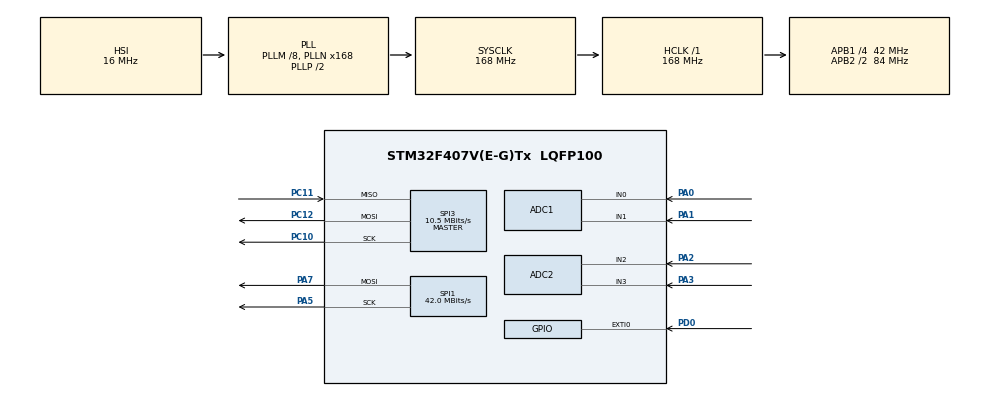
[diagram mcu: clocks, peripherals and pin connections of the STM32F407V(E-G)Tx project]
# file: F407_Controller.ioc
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ADC1.Channel-1\#ChannelRegularConversion=ADC_CHANNEL_0
ADC1.Channel-2\#ChannelRegularConversion=ADC_CHANNEL_1
ADC1.DMAContinuousRequests=ENABLE
ADC1.EOCSelection=ADC_EOC_SEQ_CONV
ADC1.ExternalTrigConv=ADC_EXTERNALTRIGCONV_T3_TRGO
ADC1.Mode=ADC_DUALMODE_INTERL
ADC1.NbrOfConversion=2
ADC1.NbrOfConversionFlag=1
ADC1.Rank-1\#ChannelRegularConversion=1
ADC1.Rank-2\#ChannelRegularConversion=2
ADC1.SamplingTime-1\#ChannelRegularConversion=ADC_SAMPLETIME_15CYCLES
ADC1.SamplingTime-2\#ChannelRegularConversion=ADC_SAMPLETIME_15CYCLES
ADC1.master=1
ADC2.Channel-1\#ChannelRegularConversion=ADC_CHANNEL_2
ADC2.Channel-2\#ChannelRegularConversion=ADC_CHANNEL_3
ADC2.DMAAccessMode=ADC_DMAACCESSMODE_2
ADC2.EOCSelection=ADC_EOC_SEQ_CONV
ADC2.Mode=ADC_DUALMODE_INTERL
ADC2.NbrOfConversion=2
ADC2.NbrOfConversionFlag=1
ADC2.Rank-1\#ChannelRegularConversion=1
ADC2.Rank-2\#ChannelRegularConversion=2
ADC2.SamplingTime-1\#ChannelRegularConversion=ADC_SAMPLETIME_15CYCLES
ADC2.SamplingTime-2\#ChannelRegularConversion=ADC_SAMPLETIME_15CYCLES
Dma.ADC1.0.Direction=DMA_PERIPH_TO_MEMORY
Dma.ADC1.0.FIFOMode=DMA_FIFOMODE_DISABLE
Dma.ADC1.0.Instance=DMA2_Stream0
Dma.ADC1.0.MemDataAlignment=DMA_MDATAALIGN_WORD
Dma.ADC1.0.MemInc=DMA_MINC_ENABLE
Dma.ADC1.0.Mode=DMA_CIRCULAR
Dma.ADC1.0.PeriphDataAlignment=DMA_PDATAALIGN_WORD
Dma.ADC1.0.PeriphInc=DMA_PINC_DISABLE
Dma.ADC1.0.Priority=DMA_PRIORITY_MEDIUM
Dma.Request0=ADC1
FREERTOS.Tasks01=main,24,128,App_main,Default,NULL,Static,mainBuffer,mainControlBlock
Mcu.Family=STM32F4
Mcu.Name=STM32F407V(E-G)Tx
Mcu.Package=LQFP100
NVIC.DMA2_Stream0_IRQn=true\:6\:0\:true\:false\:true\:true\:false\:true\:true
NVIC.EXTI0_IRQn=true\:5\:0\:true\:false\:true\:true\:true\:true\:true
NVIC.PriorityGroup=NVIC_PRIORITYGROUP_4
NVIC.TIM8_TRG_COM_TIM14_IRQn=true\:15\:0\:false\:false\:true\:false\:false\:true\:true
NVIC.TimeBase=TIM8_TRG_COM_TIM14_IRQn
NVIC.TimeBaseIP=TIM14
PA0-WKUP.Signal=ADCx_IN0
PA1.Signal=ADCx_IN1
PA13.Mode=Serial_Wire
PA13.Signal=SYS_JTMS-SWDIO
PA14.Mode=Serial_Wire
PA14.Signal=SYS_JTCK-SWCLK
PA2.Signal=ADCx_IN2
PA3.Signal=ADCx_IN3
PA5.Mode=TX_Only_Simplex_Unidirect_Master
PA5.Signal=SPI1_SCK
PA7.Mode=TX_Only_Simplex_Unidirect_Master
PA7.Signal=SPI1_MOSI
PC10.Mode=Full_Duplex_Master
PC10.Signal=SPI3_SCK
PC11.Mode=Full_Duplex_Master
PC11.Signal=SPI3_MISO
PC12.Mode=Full_Duplex_Master
PC12.Signal=SPI3_MOSI
PD0.GPIO_ModeDefaultEXTI=GPIO_MODE_IT_FALLING
PD0.Signal=GPXTI0
PH0-OSC_IN.Mode=HSE-External-Oscillator
PH0-OSC_IN.Signal=RCC_OSC_IN
PH1-OSC_OUT.Mode=HSE-External-Oscillator
PH1-OSC_OUT.Signal=RCC_OSC_OUT
ProjectManager.HeapSize=0x200
ProjectManager.StackSize=0x400
ProjectManager.TargetToolchain=STM32CubeIDE
RCC.48MHZClocksFreq_Value=84000000
RCC.AHBFreq_Value=168000000
RCC.APB1CLKDivider=RCC_HCLK_DIV4
RCC.APB1Freq_Value=42000000
RCC.APB1TimFreq_Value=84000000
RCC.APB2CLKDivider=RCC_HCLK_DIV2
RCC.APB2Freq_Value=84000000
RCC.APB2TimFreq_Value=168000000
RCC.CortexFreq_Value=168000000
RCC.HCLKFreq_Value=168000000
RCC.HSE_VALUE=12000000
RCC.HSI_VALUE=16000000
RCC.LSE_VALUE=32768
RCC.PLLM=8
RCC.PLLN=168
RCC.SYSCLKFreq_VALUE=168000000
RCC.SYSCLKSource=RCC_SYSCLKSOURCE_PLLCLK
RCC.VCOOutputFreq_Value=336000000
SH.ADCx_IN0.0=ADC1_IN0,IN0
SH.ADCx_IN1.0=ADC1_IN1,IN1
SH.ADCx_IN2.0=ADC2_IN2,IN2
SH.ADCx_IN3.0=ADC2_IN3,IN3
SPI1.CalculateBaudRate=42.0 MBits/s
SPI1.Direction=SPI_DIRECTION_2LINES
SPI1.Mode=SPI_MODE_MASTER
SPI1.VirtualType=VM_MASTER
SPI3.BaudRatePrescaler=SPI_BAUDRATEPRESCALER_4
SPI3.CalculateBaudRate=10.5 MBits/s
SPI3.Direction=SPI_DIRECTION_2LINES
SPI3.Mode=SPI_MODE_MASTER
SPI3.VirtualType=VM_MASTER
TIM3.Period=40-1
TIM3.Prescaler=84-1
TIM3.TIM_MasterOutputTrigger=TIM_TRGO_UPDATE
VP_FREERTOS_VS_CMSIS_V2.Mode=CMSIS_V2
VP_SYS_VS_tim14.Mode=TIM14
VP_TIM3_VS_ClockSourceINT.Mode=Internal
board=custom

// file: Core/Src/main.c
/* USER CODE BEGIN Header */
/**
  ******************************************************************************
  * @file           : main.c
  * @brief          : Main program body
  ******************************************************************************
  * @attention
  *
  * Copyright (c) 2024 STMicroelectronics.
  * All rights reserved.
  *
  * This software is licensed under terms that can be found in the LICENSE file
  * in the root directory of this software component.
  * If no LICENSE file comes with this software, it is provided AS-IS.
  *
  ******************************************************************************
  */
/* USER CODE END Header */
#include "main.h"
#include "cmsis_os.h"
#include "adc.h"
#include "dma.h"
#include "spi.h"
#include "tim.h"
#include "gpio.h"

/* USER CODE BEGIN Includes */
#include "lcd.h"
#include "nrf.h"
#include "bsp.h"
/* USER CODE END Includes */

void SystemClock_Config(void);
void MX_FREERTOS_Init(void);

/* USER CODE BEGIN 0 */
uint32_t dmaBuffer[2];
/* USER CODE END 0 */

int main(void)
{

  /* MCU Configuration--------------------------------------------------------*/

  /* Reset of all peripherals, Initializes the Flash interface and the Systick. */
  HAL_Init();

  /* Configure the system clock */
  SystemClock_Config();

  /* Initialize all configured peripherals */
  MX_GPIO_Init();
  MX_DMA_Init();
  MX_SPI1_Init();
  MX_SPI3_Init();
  MX_ADC1_Init();
  MX_ADC2_Init();
  MX_TIM3_Init();
  /* USER CODE BEGIN 2 */
    LCD_Init(WHITE);
    NRF_GPIO_Init();
    BSP_FineTuningKey_GPIO_Init();
    //启动ADC
    HAL_ADCEx_MultiModeStart_DMA(&hadc1,dmaBuffer,2);
    HAL_ADCEx_MultiModeStart_DMA(&hadc2,dmaBuffer,2);

    //启动定时器3
    HAL_TIM_Base_Start(&htim3);
  /* USER CODE END 2 */

  /* Init scheduler */
  osKernelInitialize();

  /* Call init function for freertos objects (in freertos.c) */
  MX_FREERTOS_Init();

  /* Start scheduler */
  osKernelStart();

  /* We should never get here as control is now taken by the scheduler */
  /* Infinite loop */
    while (1) {

    }
}

void SystemClock_Config(void)
{
  RCC_OscInitTypeDef RCC_OscInitStruct = {0};
  RCC_ClkInitTypeDef RCC_ClkInitStruct = {0};

  /** Configure the main internal regulator output voltage
  */
  __HAL_RCC_PWR_CLK_ENABLE();
  __HAL_PWR_VOLTAGESCALING_CONFIG(PWR_REGULATOR_VOLTAGE_SCALE1);

  /** Initializes the RCC Oscillators according to the specified parameters
  * in the RCC_OscInitTypeDef structure.
  */
  RCC_OscInitStruct.OscillatorType = RCC_OSCILLATORTYPE_HSI;
  RCC_OscInitStruct.HSIState = RCC_HSI_ON;
  RCC_OscInitStruct.HSICalibrationValue = RCC_HSICALIBRATION_DEFAULT;
  RCC_OscInitStruct.PLL.PLLState = RCC_PLL_ON;
  RCC_OscInitStruct.PLL.PLLSource = RCC_PLLSOURCE_HSI;
  RCC_OscInitStruct.PLL.PLLM = 8;
  RCC_OscInitStruct.PLL.PLLN = 168;
  RCC_OscInitStruct.PLL.PLLP = RCC_PLLP_DIV2;
  RCC_OscInitStruct.PLL.PLLQ = 4;
  if (HAL_RCC_OscConfig(&RCC_OscInitStruct) != HAL_OK)
  {
    Error_Handler();
  }

  /** Initializes the CPU, AHB and APB buses clocks
  */
  RCC_ClkInitStruct.ClockType = RCC_CLOCKTYPE_HCLK|RCC_CLOCKTYPE_SYSCLK
                              |RCC_CLOCKTYPE_PCLK1|RCC_CLOCKTYPE_PCLK2;
  RCC_ClkInitStruct.SYSCLKSource = RCC_SYSCLKSOURCE_PLLCLK;
  RCC_ClkInitStruct.AHBCLKDivider = RCC_SYSCLK_DIV1;
  RCC_ClkInitStruct.APB1CLKDivider = RCC_HCLK_DIV4;
  RCC_ClkInitStruct.APB2CLKDivider = RCC_HCLK_DIV2;

  if (HAL_RCC_ClockConfig(&RCC_ClkInitStruct, FLASH_LATENCY_5) != HAL_OK)
  {
    Error_Handler();
  }
}

void HAL_TIM_PeriodElapsedCallback(TIM_HandleTypeDef *htim)
{
  if (htim->Instance == TIM14) {
    HAL_IncTick();
  }
}

void Error_Handler(void)
{
    __disable_irq();
    while (1) {
    }
}

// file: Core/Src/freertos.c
/* USER CODE BEGIN Header */
/**
  ******************************************************************************
  * File Name          : freertos.c
  * Description        : Code for freertos applications
  ******************************************************************************
  * @attention
  *
  * Copyright (c) 2024 STMicroelectronics.
  * All rights reserved.
  *
  * This software is licensed under terms that can be found in the LICENSE file
  * in the root directory of this software component.
  * If no LICENSE file comes with this software, it is provided AS-IS.
  *
  ******************************************************************************
  */
/* USER CODE END Header */

#include "FreeRTOS.h"
#include "task.h"
#include "main.h"
#include "cmsis_os.h"

/* USER CODE BEGIN Includes */
#include "lcd.h"
#include "bsp.h"
#include "semphr.h"
#include "nrf.h"
#include "flash.h"
#include "pic.h"
#include "stdio.h"
#include "math.h"
/* USER CODE END Includes */

typedef StaticTask_t osStaticThreadDef_t;
/* USER CODE BEGIN PTD */
osSemaphoreId_t BinSem_DataReadyHandle;
const osSemaphoreAttr_t BinSem_DataReady_attributes = {
        .name = "BinSem_DataReady",
};

osSemaphoreId_t NRFSem_TxHandle;
const osSemaphoreAttr_t NRFSem_Tx_attributes = {
        .name = "NRFSem_Tx"
};
/* USER CODE END PTD */

/* USER CODE BEGIN PD */

extern uint32_t dmaBuffer[2];
CCMRAM uint16_t adc[4] = {0, 0, 0, 0};
CCMRAM int offset[4] = {0,0,0,0};
CCMRAM uint8_t txBuffer[NRF_AirDataBytes];
/* USER CODE END PD */

/* USER CODE BEGIN PM */
/* Creat for LCD*/
osThreadId_t lcdHandle;
CCMRAM uint32_t lcdBuffer[128];
osStaticThreadDef_t lcdControlBlock;
const osThreadAttr_t lcd_attributes = {
        .name = "lcd",
        .cb_mem = &lcdControlBlock,
        .cb_size = sizeof(lcdControlBlock),
        .stack_mem = lcdBuffer,
        .stack_size = sizeof(lcdBuffer),
        .priority = (osPriority_t) osPriorityLow,
};

/* Creat for adc */
osThreadId_t adcHandle;
CCMRAM uint32_t adcBuffer[128];
osStaticThreadDef_t adcControlBlock;
const osThreadAttr_t adc_attributes = {
        .name = "adc",
        .cb_mem = &adcControlBlock,
        .cb_size = sizeof(adcControlBlock),
        .stack_mem = adcBuffer,
        .stack_size = sizeof(adcBuffer),
        .priority = (osPriority_t) osPriorityHigh,
};

/* USER CODE END PM */

/* Definitions for main */
osThreadId_t mainHandle;
CCMRAM uint32_t mainBuffer[ 128 ];
osStaticThreadDef_t mainControlBlock;
const osThreadAttr_t main_attributes = {
  .name = "main",
  .cb_mem = &mainControlBlock,
  .cb_size = sizeof(mainControlBlock),
  .stack_mem = &mainBuffer[0],
  .stack_size = sizeof(mainBuffer),
  .priority = (osPriority_t) osPriorityNormal,
};

/* USER CODE BEGIN FunctionPrototypes */
void App_lcd(void *argument);

void App_adc(void *param);

/* USER CODE END FunctionPrototypes */

void App_main(void *argument);

void MX_FREERTOS_Init(void); /* (MISRA C 2004 rule 8.1) */

void MX_FREERTOS_Init(void) {

  /* USER CODE BEGIN RTOS_SEMAPHORES */
    /* add semaphores, ... */
    BinSem_DataReadyHandle = osSemaphoreNew(1, 1, &BinSem_DataReady_attributes);

    NRFSem_TxHandle = osSemaphoreNew(1,1,&NRFSem_Tx_attributes);
  /* USER CODE END RTOS_SEMAPHORES */

  /* Create the thread(s) */
  /* creation of main */
  mainHandle = osThreadNew(App_main, NULL, &main_attributes);

  /* USER CODE BEGIN RTOS_THREADS */
    /* add threads, ... */
    lcdHandle = osThreadNew(App_lcd, NULL, &lcd_attributes);

    adcHandle = osThreadNew(App_adc, NULL, &adc_attributes);
  /* USER CODE END RTOS_THREADS */

}

void App_main(void *argument)
{
  /* USER CODE BEGIN App_main */
    taskENTER_CRITICAL();
    FLASH_Read(ADDR_FLASH_SECTOR_10,(uint32_t *)offset,4);
    taskEXIT_CRITICAL();
    /* Infinite loop */
    for (;;) {
        if(HAL_GPIO_ReadPin(GPIOB,GPIO_PIN_9) == GPIO_PIN_RESET) {
            taskENTER_CRITICAL();
            FLASH_Write(ADDR_FLASH_SECTOR_10,(uint32_t*)offset,4);
            taskEXIT_CRITICAL();
            if(HAL_GPIO_ReadPin(GPIOB,GPIO_PIN_10) == GPIO_PIN_RESET) {
                while (HAL_GPIO_ReadPin(GPIOB,GPIO_PIN_1) == GPIO_PIN_RESET);
            }
        }

        if(HAL_GPIO_ReadPin(GPIOB,GPIO_PIN_1) == GPIO_PIN_RESET) {
            txBuffer[8] = 0b10101010;
            if(HAL_GPIO_ReadPin(GPIOB,GPIO_PIN_1) == GPIO_PIN_RESET) {
                while (HAL_GPIO_ReadPin(GPIOB,GPIO_PIN_1) == GPIO_PIN_RESET);
            }
        }

        if(HAL_GPIO_ReadPin(GPIOB,GPIO_PIN_2) == GPIO_PIN_RESET) {
            txBuffer[8] = 0b01010101;
            if(HAL_GPIO_ReadPin(GPIOB,GPIO_PIN_2) == GPIO_PIN_RESET) {
                while (HAL_GPIO_ReadPin(GPIOB,GPIO_PIN_2) == GPIO_PIN_RESET);
            }
        }

        if(HAL_GPIO_ReadPin(GPIOE,GPIO_PIN_9) == GPIO_PIN_RESET) {
            offset[1] += 10;
            if(HAL_GPIO_ReadPin(GPIOE,GPIO_PIN_9) == GPIO_PIN_RESET) {
                while (HAL_GPIO_ReadPin(GPIOE,GPIO_PIN_9) == GPIO_PIN_RESET);
            }
        }

        if(HAL_GPIO_ReadPin(GPIOE,GPIO_PIN_8) == GPIO_PIN_RESET) {
            offset[1] -= 10;
            if(HAL_GPIO_ReadPin(GPIOE,GPIO_PIN_8) == GPIO_PIN_RESET) {
                while (HAL_GPIO_ReadPin(GPIOE,GPIO_PIN_8) == GPIO_PIN_RESET);
            }
        }

        if(HAL_GPIO_ReadPin(GPIOB,GPIO_PIN_4) == GPIO_PIN_RESET) {
            offset[2] -= 10;
            if(HAL_GPIO_ReadPin(GPIOB,GPIO_PIN_4) == GPIO_PIN_RESET) {
                while (HAL_GPIO_ReadPin(GPIOB,GPIO_PIN_4) == GPIO_PIN_RESET);
            }
        }

        if(HAL_GPIO_ReadPin(GPIOB,GPIO_PIN_5) == GPIO_PIN_RESET) {
            offset[2] += 10;
            if(HAL_GPIO_ReadPin(GPIOB,GPIO_PIN_5) == GPIO_PIN_RESET) {
                while (HAL_GPIO_ReadPin(GPIOB,GPIO_PIN_5) == GPIO_PIN_RESET);
            }
        }

        if(HAL_GPIO_ReadPin(GPIOB,GPIO_PIN_6) == GPIO_PIN_RESET) {
            offset[3] += 10;
            if(HAL_GPIO_ReadPin(GPIOB,GPIO_PIN_6) == GPIO_PIN_RESET) {
                while (HAL_GPIO_ReadPin(GPIOB,GPIO_PIN_6) == GPIO_PIN_RESET);
            }
        }

        if(HAL_GPIO_ReadPin(GPIOB,GPIO_PIN_7) == GPIO_PIN_RESET) {
            offset[3] -= 10;
            if(HAL_GPIO_ReadPin(GPIOB,GPIO_PIN_7) == GPIO_PIN_RESET) {
                while (HAL_GPIO_ReadPin(GPIOB,GPIO_PIN_7) == GPIO_PIN_RESET);
            }
        }

        vTaskDelay(1);
    }
  /* USER CODE END App_main */
}

/* USER CODE BEGIN Application */
CCMRAM uint8_t DisplayBuffer[7372];
void App_lcd(void *argument) {
    //显示背景
    taskENTER_CRITICAL();
    LCD_ShowPicture2(30,0,180,48,gImage_Title1);
    LCD_ShowPicture2(5,48,60,16,gImage_Title2);
    LCD_ShowPicture2(19,66,27,190,gImage_KeDu);
    LCD_ShowPicture2(69,79,160,160,gImage_WeiTiaoBG);
    taskEXIT_CRITICAL();

    for(uint16_t i = 0;i < 7372;i++) {
        DisplayBuffer[i] = gImage_Buffer[i];
    }

    uint16_t y = 0;
    uint16_t num = 0;
    uint16_t num_old = 0;

    while (1) {
        y = -180*adc[0]/4095 + 180;
        num = 38*y;

        //擦除旧箭头
        for(uint16_t i = 0; i < 532;i++) {
            DisplayBuffer[num_old + i] = 0xFF;
        }

        //画新箭头
        for(uint16_t i = 0;i < 532;i++) {
            DisplayBuffer[num + i] = gImage_JianTou[i];
        }

//        taskENTER_CRITICAL();
        LCD_ShowPicture2(45,65,19,194,DisplayBuffer);
        LCD_ShowIntNumber(160,89,offset[2] + 1,3,BLACK,WHITE,24);
        LCD_ShowIntNumber(160,129,offset[3] + 1,3,BLACK,WHITE,24);
        LCD_ShowIntNumber(160,167,offset[0] + 1,3,BLACK,WHITE,24);
        LCD_ShowIntNumber(160,204,offset[1] + 1,3,BLACK,WHITE,24);
//        taskEXIT_CRITICAL();

        num_old = num;
        vTaskDelay(1);
    }
}

/* ADC thread*/
void App_adc(void *param) {
    taskENTER_CRITICAL();
    NRF_TxMode();
    taskEXIT_CRITICAL();
    while (1) {
        if (xSemaphoreTake(BinSem_DataReadyHandle, portMAX_DELAY) == pdTRUE) {
            //进行ADC滤波
            int adc_temp[4] = {0,0,0,0};
            uint16_t adc_tx[4] = {0,0,0,0};

            for(uint8_t i = 0;i < 4;i++) {
                adc_temp[i] = adc[i];

                adc_temp[i] = BSP_Filter(adc_temp[i],0.35f,i);

                //叠加微调值
                adc_temp[i] += offset[i];

                //添加饱和器
                if(adc_temp[i] >= 4095) {
                    adc_temp[i] = 4095;
                }
                if(adc_temp[i] <= 0) {
                    adc_temp[i] = 0;
                }

                adc_tx[i] = adc_temp[i];

                txBuffer[2*i] = adc_tx[i];
                txBuffer[2*i + 1] = (adc_tx[i] >> 8);
            }

            if(xSemaphoreTake(NRFSem_TxHandle,portMAX_DELAY) == pdTRUE) {
                taskENTER_CRITICAL();
                NRF_WriteTxFIFO(txBuffer,NRF_AirDataBytes);
                taskEXIT_CRITICAL();
            }
//            vTaskDelay(1);
        }
    }
}

void HAL_ADC_ConvCpltCallback(ADC_HandleTypeDef *hadc) {
    adc[0] = (uint16_t) dmaBuffer[0];
    adc[1] = (uint16_t) dmaBuffer[1];
    adc[2] = (uint16_t) (dmaBuffer[0] >> 16);
    adc[3] = (uint16_t) (dmaBuffer[1] >> 16);
    BaseType_t highTaskWoken = pdFALSE;
    if (BinSem_DataReadyHandle != NULL) {
        xSemaphoreGiveFromISR(BinSem_DataReadyHandle, &highTaskWoken);
        portYIELD_FROM_ISR(highTaskWoken);  //主动发起一次任务调度
    }
}

void HAL_GPIO_EXTI_Callback(uint16_t GPIO_Pin) {
    if(GPIO_Pin == GPIO_PIN_0) {
        NRF_TxIRQ();
        BaseType_t highTaskWoken = pdFALSE;
        if(NRFSem_TxHandle !=NULL) {
            xSemaphoreGiveFromISR(NRFSem_TxHandle,&highTaskWoken);
            portYIELD_FROM_ISR(highTaskWoken);
        }
    }
}

/* USER CODE END Application */
